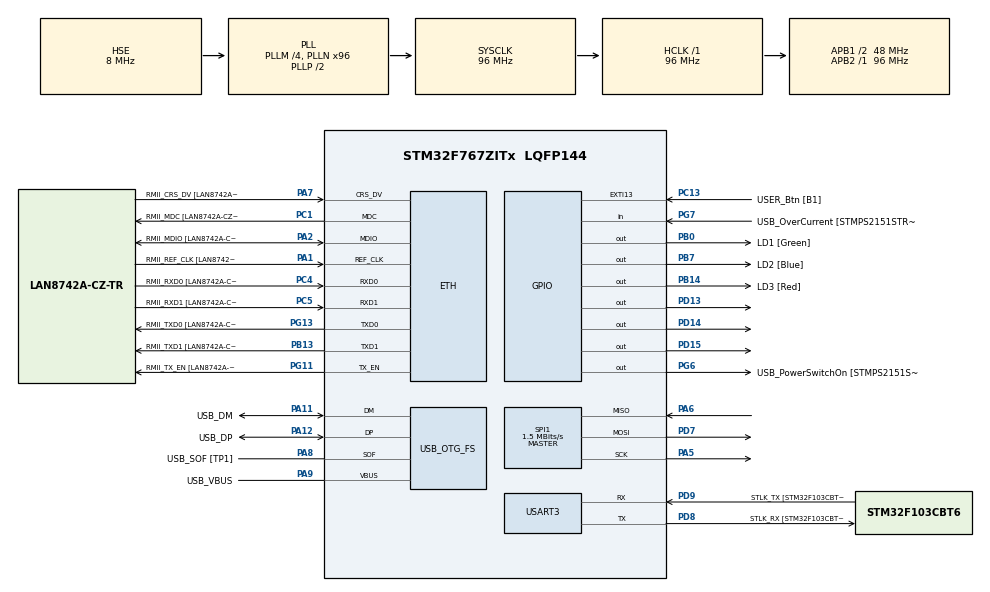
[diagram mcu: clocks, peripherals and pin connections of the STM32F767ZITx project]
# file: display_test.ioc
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CORTEX_M7.default_mode_Activation=1
ETH.MediaInterface=HAL_ETH_RMII_MODE
ETH.PHY_Name=LAN8742A_PHY_ADDRESS
ETH.PHY_Value=0
ETH.PhyAddress=0
Mcu.Family=STM32F7
Mcu.Name=STM32F767ZITx
Mcu.Package=LQFP144
NVIC.PriorityGroup=NVIC_PRIORITYGROUP_4
PA1.GPIO_Label=RMII_REF_CLK [LAN8742A-CZ-TR_REFCLK0]
PA1.Mode=RMII
PA1.Signal=ETH_REF_CLK
PA10.GPIO_Label=USB_ID
PA10.Signal=USB_OTG_FS_ID
PA11.GPIO_Label=USB_DM
PA11.Mode=Device_Only
PA11.Signal=USB_OTG_FS_DM
PA12.GPIO_Label=USB_DP
PA12.Mode=Device_Only
PA12.Signal=USB_OTG_FS_DP
PA13.GPIO_Label=TMS
PA13.Mode=Serial_Wire
PA13.Signal=SYS_JTMS-SWDIO
PA14.GPIO_Label=TCK
PA14.Mode=Serial_Wire
PA14.Signal=SYS_JTCK-SWCLK
PA2.GPIO_Label=RMII_MDIO [LAN8742A-CZ-TR_MDIO]
PA2.Mode=RMII
PA2.Signal=ETH_MDIO
PA5.Mode=Full_Duplex_Master
PA5.Signal=SPI1_SCK
PA6.Mode=Full_Duplex_Master
PA6.Signal=SPI1_MISO
PA7.GPIO_Label=RMII_CRS_DV [LAN8742A-CZ-TR_CRS_DV]
PA7.Mode=RMII
PA7.Signal=ETH_CRS_DV
PA8.GPIO_Label=USB_SOF [TP1]
PA8.Mode=Activate_SOF_FS
PA8.Signal=USB_OTG_FS_SOF
PA9.GPIO_Label=USB_VBUS
PA9.Mode=Activate_VBUS
PA9.Signal=USB_OTG_FS_VBUS
PB0.GPIO_Label=LD1 [Green]
PB0.Signal=GPIO_Output
PB13.GPIO_Label=RMII_TXD1 [LAN8742A-CZ-TR_TXD1]
PB13.Mode=RMII
PB13.Signal=ETH_TXD1
PB14.GPIO_Label=LD3 [Red]
PB14.PinState=GPIO_PIN_RESET
PB14.Signal=GPIO_Output
PB3.GPIO_Label=SWO
PB3.Signal=SYS_JTDO-SWO
PB7.GPIO_Label=LD2 [Blue]
PB7.Signal=GPIO_Output
PC1.GPIO_Label=RMII_MDC [LAN8742A-CZ-TR_MDC]
PC1.Mode=RMII
PC1.Signal=ETH_MDC
PC13.GPIO_Label=USER_Btn [B1]
PC13.Signal=GPXTI13
PC14/OSC32_IN.Mode=LSE-External-Oscillator
PC14/OSC32_IN.Signal=RCC_OSC32_IN
PC15/OSC32_OUT.Mode=LSE-External-Oscillator
PC15/OSC32_OUT.Signal=RCC_OSC32_OUT
PC4.GPIO_Label=RMII_RXD0 [LAN8742A-CZ-TR_RXD0]
PC4.Mode=RMII
PC4.Signal=ETH_RXD0
PC5.GPIO_Label=RMII_RXD1 [LAN8742A-CZ-TR_RXD1]
PC5.Mode=RMII
PC5.Signal=ETH_RXD1
PD13.Signal=GPIO_Output
PD14.PinState=GPIO_PIN_RESET
PD14.Signal=GPIO_Output
PD15.Signal=GPIO_Output
PD7.Mode=Full_Duplex_Master
PD7.Signal=SPI1_MOSI
PD8.GPIO_Label=STLK_RX [STM32F103CBT6_PA3]
PD8.Mode=Asynchronous
PD8.Signal=USART3_TX
PD9.GPIO_Label=STLK_TX [STM32F103CBT6_PA2]
PD9.Mode=Asynchronous
PD9.Signal=USART3_RX
PG11.GPIO_Label=RMII_TX_EN [LAN8742A-CZ-TR_TXEN]
PG11.Mode=RMII
PG11.Signal=ETH_TX_EN
PG13.GPIO_Label=RMII_TXD0 [LAN8742A-CZ-TR_TXD0]
PG13.Mode=RMII
PG13.Signal=ETH_TXD0
PG6.GPIO_Label=USB_PowerSwitchOn [STMPS2151STR_EN]
PG6.Signal=GPIO_Output
PG7.GPIO_Label=USB_OverCurrent [STMPS2151STR_FAULT]
PG7.Signal=GPIO_Input
PH0/OSC_IN.GPIO_Label=MCO [STM32F103CBT6_PA8]
PH0/OSC_IN.Mode=HSE-External-Clock-Source
PH0/OSC_IN.Signal=RCC_OSC_IN
PH1/OSC_OUT.Mode=HSE-External-Clock-Source
PH1/OSC_OUT.Signal=RCC_OSC_OUT
ProjectManager.HeapSize=0x200
ProjectManager.StackSize=0x400
ProjectManager.TargetToolchain=STM32CubeIDE
RCC.48MHZClocksFreq_Value=24000000
RCC.AHBFreq_Value=96000000
RCC.APB1CLKDivider=RCC_HCLK_DIV2
RCC.APB1Freq_Value=48000000
RCC.APB1TimFreq_Value=96000000
RCC.APB2Freq_Value=96000000
RCC.APB2TimFreq_Value=96000000
RCC.CortexFreq_Value=96000000
RCC.HCLKFreq_Value=96000000
RCC.HSE_VALUE=8000000
RCC.HSI_VALUE=16000000
RCC.PLLM=4
RCC.PLLMUL=RCC_PLL_MUL9
RCC.PLLN=96
RCC.PLLQ=4
RCC.PRESCALERUSB=RCC_USBCLKSOURCE_PLL_DIV1_5
RCC.SYSCLKFreq_VALUE=96000000
RCC.SYSCLKSource=RCC_SYSCLKSOURCE_PLLCLK
RCC.SYSCLKSourceVirtual=RCC_SYSCLKSOURCE_PLLCLK
RCC.USBFreq_Value=48000000
RCC.VCOOutputFreq_Value=192000000
SPI1.BaudRatePrescaler=SPI_BAUDRATEPRESCALER_64
SPI1.CalculateBaudRate=1.5 MBits/s
SPI1.DataSize=SPI_DATASIZE_8BIT
SPI1.Direction=SPI_DIRECTION_2LINES
SPI1.Mode=SPI_MODE_MASTER
SPI1.VirtualType=VM_MASTER
USART3.VirtualMode-Asynchronous=VM_ASYNC
USB_OTG_FS.VirtualMode=Device_Only
board=NUCLEO-F767ZI

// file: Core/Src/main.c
/* USER CODE BEGIN Header */
/**
  ******************************************************************************
  * @file           : main.c
  * @brief          : Main program body
  ******************************************************************************
  * @attention
  *
  * Copyright (c) 2026 STMicroelectronics.
  * All rights reserved.
  *
  * This software is licensed under terms that can be found in the LICENSE file
  * in the root directory of this software component.
  * If no LICENSE file comes with this software, it is provided AS-IS.
  *
  ******************************************************************************
  */
/* USER CODE END Header */
#include "main.h"
#include "string.h"

/* USER CODE BEGIN Includes */
#include "ra8875.h"
/* USER CODE END Includes */

#if defined ( __ICCARM__ ) /*!< IAR Compiler */
#pragma location=0x2007c000
ETH_DMADescTypeDef  DMARxDscrTab[ETH_RX_DESC_CNT]; /* Ethernet Rx DMA Descriptors */
#pragma location=0x2007c0a0
ETH_DMADescTypeDef  DMATxDscrTab[ETH_TX_DESC_CNT]; /* Ethernet Tx DMA Descriptors */

#elif defined ( __CC_ARM )  /* MDK ARM Compiler */

__attribute__((at(0x2007c000))) ETH_DMADescTypeDef  DMARxDscrTab[ETH_RX_DESC_CNT]; /* Ethernet Rx DMA Descriptors */
__attribute__((at(0x2007c0a0))) ETH_DMADescTypeDef  DMATxDscrTab[ETH_TX_DESC_CNT]; /* Ethernet Tx DMA Descriptors */

#elif defined ( __GNUC__ ) /* GNU Compiler */

ETH_DMADescTypeDef DMARxDscrTab[ETH_RX_DESC_CNT] __attribute__((section(".RxDecripSection"))); /* Ethernet Rx DMA Descriptors */
ETH_DMADescTypeDef DMATxDscrTab[ETH_TX_DESC_CNT] __attribute__((section(".TxDecripSection")));   /* Ethernet Tx DMA Descriptors */
#endif

ETH_TxPacketConfig TxConfig;

ETH_HandleTypeDef heth;

SPI_HandleTypeDef hspi1;

UART_HandleTypeDef huart3;

PCD_HandleTypeDef hpcd_USB_OTG_FS;

void SystemClock_Config(void);
static void MPU_Config(void);
static void MX_GPIO_Init(void);
static void MX_ETH_Init(void);
static void MX_SPI1_Init(void);
static void MX_USART3_UART_Init(void);
static void MX_USB_OTG_FS_PCD_Init(void);

int main(void)
{

  /* MPU Configuration--------------------------------------------------------*/
  MPU_Config();

  /* MCU Configuration--------------------------------------------------------*/

  /* Reset of all peripherals, Initializes the Flash interface and the Systick. */
  HAL_Init();

  /* Configure the system clock */
  SystemClock_Config();

  /* Initialize all configured peripherals */
  MX_GPIO_Init();
  MX_ETH_Init();
  MX_SPI1_Init();
  MX_USART3_UART_Init();
  MX_USB_OTG_FS_PCD_Init();
  /* USER CODE BEGIN 2 */
  ra8875_t ra8875_config;
  ra8875_config.hspi = &hspi1;
  ra8875_config.scs_port = GPIOD;
  ra8875_config.scs_pin = GPIO_PIN_14;
  ra8875_config.rst_port = GPIOD;
  ra8875_config.rst_pin = GPIO_PIN_15;

  ra8875_config.pllc1 = 0x0B;
  ra8875_config.pllc2 = 0x02;

  ra8875_config.sysr = 0x08;

  ra8875_config.pcsr = 0x81;

  ra8875_config.hdwr = 0x63;
  ra8875_config.hndftr = 0x00;
  ra8875_config.hndr = 0x03;
  ra8875_config.hstr = 0x01;
  ra8875_config.hpwr = 0x03;

  ra8875_config.vdhr0 = 0xDF;
  ra8875_config.vdhr1 = 0x01;
  ra8875_config.vndr0 = 0x0F;
  ra8875_config.vndr1 = 0x00;
  ra8875_config.vstr0 = 0x0E;
  ra8875_config.vstr1 = 0x00;
  ra8875_config.vpwr = 0x01;

  ra8875_config.p1cr = 0x8F;
  ra8875_config.p1dcr = 0xFF;

  ra8875_init(&ra8875_config);

  ra8875_set_memory_write_cursor_auto_increase(false);

  ra8875_set_text_mode();
  ra8875_write_text("DANIEL", 0, 0, 1, 1, 0xFFFF, 0x0000, false);
  ra8875_write_text("DANIEL", 0, 200, 4, 4, 0xFFFF, 0xFFFF, true);

  // basic testing
  ra8875_set_graphic_mode();

  ra8875_draw_line(20, 20, 200, 120, 0xFFFF);

  ra8875_draw_triangle(240, 120, 320, 40, 400, 120, 0xF800, false);
  ra8875_draw_triangle(240, 220, 320, 140, 400, 220, 0x07E0, true);

  ra8875_draw_rectangle(450, 40, 580, 120, 0x001F, false);
  ra8875_draw_rectangle(620, 40, 760, 120, 0xFFE0, true);

  ra8875_draw_rectangle_circle(450, 150, 580, 240, 20, 20, 0xF81F, false);
  ra8875_draw_rectangle_circle(620, 150, 760, 240, 20, 20, 0x07FF, true);

  ra8875_draw_circle(90, 330, 40, 0xFFFF, false);
  ra8875_draw_circle(210, 330, 40, 0xFD20, true);

  ra8875_draw_ellipse(430, 340, 70, 35, 0xAFE5, false);
  ra8875_draw_ellipse(650, 340, 70, 35, 0x780F, true);

  ra8875_draw_ellipse_curve(330, 360, 45, 25, 0xF800, 0x00, false);
  ra8875_draw_ellipse_curve(390, 360, 45, 25, 0x07E0, 0x01, true);
  ra8875_draw_ellipse_curve(330, 430, 45, 25, 0x001F, 0x02, false);
  ra8875_draw_ellipse_curve(390, 430, 45, 25, 0xFFE0, 0x03, true);
  /* USER CODE END 2 */

  /* Infinite loop */
  while (1)
  {

  }
}

void SystemClock_Config(void)
{
  RCC_OscInitTypeDef RCC_OscInitStruct = {0};
  RCC_ClkInitTypeDef RCC_ClkInitStruct = {0};

  /** Configure LSE Drive Capability
  */
  HAL_PWR_EnableBkUpAccess();

  /** Configure the main internal regulator output voltage
  */
  __HAL_RCC_PWR_CLK_ENABLE();
  __HAL_PWR_VOLTAGESCALING_CONFIG(PWR_REGULATOR_VOLTAGE_SCALE3);

  /** Initializes the RCC Oscillators according to the specified parameters
  * in the RCC_OscInitTypeDef structure.
  */
  RCC_OscInitStruct.OscillatorType = RCC_OSCILLATORTYPE_HSE;
  RCC_OscInitStruct.HSEState = RCC_HSE_BYPASS;
  RCC_OscInitStruct.PLL.PLLState = RCC_PLL_ON;
  RCC_OscInitStruct.PLL.PLLSource = RCC_PLLSOURCE_HSE;
  RCC_OscInitStruct.PLL.PLLM = 4;
  RCC_OscInitStruct.PLL.PLLN = 96;
  RCC_OscInitStruct.PLL.PLLP = RCC_PLLP_DIV2;
  RCC_OscInitStruct.PLL.PLLQ = 4;
  RCC_OscInitStruct.PLL.PLLR = 2;
  if (HAL_RCC_OscConfig(&RCC_OscInitStruct) != HAL_OK)
  {
    Error_Handler();
  }

  /** Activate the Over-Drive mode
  */
  if (HAL_PWREx_EnableOverDrive() != HAL_OK)
  {
    Error_Handler();
  }

  /** Initializes the CPU, AHB and APB buses clocks
  */
  RCC_ClkInitStruct.ClockType = RCC_CLOCKTYPE_HCLK|RCC_CLOCKTYPE_SYSCLK
                              |RCC_CLOCKTYPE_PCLK1|RCC_CLOCKTYPE_PCLK2;
  RCC_ClkInitStruct.SYSCLKSource = RCC_SYSCLKSOURCE_PLLCLK;
  RCC_ClkInitStruct.AHBCLKDivider = RCC_SYSCLK_DIV1;
  RCC_ClkInitStruct.APB1CLKDivider = RCC_HCLK_DIV2;
  RCC_ClkInitStruct.APB2CLKDivider = RCC_HCLK_DIV1;

  if (HAL_RCC_ClockConfig(&RCC_ClkInitStruct, FLASH_LATENCY_3) != HAL_OK)
  {
    Error_Handler();
  }
}

static void MX_ETH_Init(void)
{

   static uint8_t MACAddr[6];

  heth.Instance = ETH;
  MACAddr[0] = 0x00;
  MACAddr[1] = 0x80;
  MACAddr[2] = 0xE1;
  MACAddr[3] = 0x00;
  MACAddr[4] = 0x00;
  MACAddr[5] = 0x00;
  heth.Init.MACAddr = &MACAddr[0];
  heth.Init.MediaInterface = HAL_ETH_RMII_MODE;
  heth.Init.TxDesc = DMATxDscrTab;
  heth.Init.RxDesc = DMARxDscrTab;
  heth.Init.RxBuffLen = 1524;

  if (HAL_ETH_Init(&heth) != HAL_OK)
  {
    Error_Handler();
  }

  memset(&TxConfig, 0 , sizeof(ETH_TxPacketConfig));
  TxConfig.Attributes = ETH_TX_PACKETS_FEATURES_CSUM | ETH_TX_PACKETS_FEATURES_CRCPAD;
  TxConfig.ChecksumCtrl = ETH_CHECKSUM_IPHDR_PAYLOAD_INSERT_PHDR_CALC;
  TxConfig.CRCPadCtrl = ETH_CRC_PAD_INSERT;

}

static void MX_SPI1_Init(void)
{

  /* SPI1 parameter configuration*/
  hspi1.Instance = SPI1;
  hspi1.Init.Mode = SPI_MODE_MASTER;
  hspi1.Init.Direction = SPI_DIRECTION_2LINES;
  hspi1.Init.DataSize = SPI_DATASIZE_8BIT;
  hspi1.Init.CLKPolarity = SPI_POLARITY_LOW;
  hspi1.Init.CLKPhase = SPI_PHASE_1EDGE;
  hspi1.Init.NSS = SPI_NSS_SOFT;
  hspi1.Init.BaudRatePrescaler = SPI_BAUDRATEPRESCALER_64;
  hspi1.Init.FirstBit = SPI_FIRSTBIT_MSB;
  hspi1.Init.TIMode = SPI_TIMODE_DISABLE;
  hspi1.Init.CRCCalculation = SPI_CRCCALCULATION_DISABLE;
  hspi1.Init.CRCPolynomial = 7;
  hspi1.Init.CRCLength = SPI_CRC_LENGTH_DATASIZE;
  hspi1.Init.NSSPMode = SPI_NSS_PULSE_ENABLE;
  if (HAL_SPI_Init(&hspi1) != HAL_OK)
  {
    Error_Handler();
  }

}

static void MX_USART3_UART_Init(void)
{

  huart3.Instance = USART3;
  huart3.Init.BaudRate = 115200;
  huart3.Init.WordLength = UART_WORDLENGTH_8B;
  huart3.Init.StopBits = UART_STOPBITS_1;
  huart3.Init.Parity = UART_PARITY_NONE;
  huart3.Init.Mode = UART_MODE_TX_RX;
  huart3.Init.HwFlowCtl = UART_HWCONTROL_NONE;
  huart3.Init.OverSampling = UART_OVERSAMPLING_16;
  huart3.Init.OneBitSampling = UART_ONE_BIT_SAMPLE_DISABLE;
  huart3.AdvancedInit.AdvFeatureInit = UART_ADVFEATURE_NO_INIT;
  if (HAL_UART_Init(&huart3) != HAL_OK)
  {
    Error_Handler();
  }

}

static void MX_USB_OTG_FS_PCD_Init(void)
{

  hpcd_USB_OTG_FS.Instance = USB_OTG_FS;
  hpcd_USB_OTG_FS.Init.dev_endpoints = 6;
  hpcd_USB_OTG_FS.Init.speed = PCD_SPEED_FULL;
  hpcd_USB_OTG_FS.Init.dma_enable = DISABLE;
  hpcd_USB_OTG_FS.Init.phy_itface = PCD_PHY_EMBEDDED;
  hpcd_USB_OTG_FS.Init.Sof_enable = ENABLE;
  hpcd_USB_OTG_FS.Init.low_power_enable = DISABLE;
  hpcd_USB_OTG_FS.Init.lpm_enable = DISABLE;
  hpcd_USB_OTG_FS.Init.vbus_sensing_enable = ENABLE;
  hpcd_USB_OTG_FS.Init.use_dedicated_ep1 = DISABLE;
  if (HAL_PCD_Init(&hpcd_USB_OTG_FS) != HAL_OK)
  {
    Error_Handler();
  }

}

static void MX_GPIO_Init(void)
{
  GPIO_InitTypeDef GPIO_InitStruct = {0};

  /* GPIO Ports Clock Enable */
  __HAL_RCC_GPIOC_CLK_ENABLE();
  __HAL_RCC_GPIOH_CLK_ENABLE();
  __HAL_RCC_GPIOA_CLK_ENABLE();
  __HAL_RCC_GPIOB_CLK_ENABLE();
  __HAL_RCC_GPIOD_CLK_ENABLE();
  __HAL_RCC_GPIOG_CLK_ENABLE();

  /*Configure GPIO pin Output Level */
  HAL_GPIO_WritePin(GPIOB, LD1_Pin|LD3_Pin|LD2_Pin, GPIO_PIN_RESET);

  /*Configure GPIO pin Output Level */
  HAL_GPIO_WritePin(GPIOD, GPIO_PIN_13|GPIO_PIN_14|GPIO_PIN_15, GPIO_PIN_RESET);

  /*Configure GPIO pin Output Level */
  HAL_GPIO_WritePin(USB_PowerSwitchOn_GPIO_Port, USB_PowerSwitchOn_Pin, GPIO_PIN_RESET);

  /*Configure GPIO pin : USER_Btn_Pin */
  GPIO_InitStruct.Pin = USER_Btn_Pin;
  GPIO_InitStruct.Mode = GPIO_MODE_IT_RISING;
  GPIO_InitStruct.Pull = GPIO_NOPULL;
  HAL_GPIO_Init(USER_Btn_GPIO_Port, &GPIO_InitStruct);

  /*Configure GPIO pins : LD1_Pin LD3_Pin LD2_Pin */
  GPIO_InitStruct.Pin = LD1_Pin|LD3_Pin|LD2_Pin;
  GPIO_InitStruct.Mode = GPIO_MODE_OUTPUT_PP;
  GPIO_InitStruct.Pull = GPIO_NOPULL;
  GPIO_InitStruct.Speed = GPIO_SPEED_FREQ_LOW;
  HAL_GPIO_Init(GPIOB, &GPIO_InitStruct);

  /*Configure GPIO pins : PD13 PD14 PD15 */
  GPIO_InitStruct.Pin = GPIO_PIN_13|GPIO_PIN_14|GPIO_PIN_15;
  GPIO_InitStruct.Mode = GPIO_MODE_OUTPUT_PP;
  GPIO_InitStruct.Pull = GPIO_NOPULL;
  GPIO_InitStruct.Speed = GPIO_SPEED_FREQ_LOW;
  HAL_GPIO_Init(GPIOD, &GPIO_InitStruct);

  /*Configure GPIO pin : USB_PowerSwitchOn_Pin */
  GPIO_InitStruct.Pin = USB_PowerSwitchOn_Pin;
  GPIO_InitStruct.Mode = GPIO_MODE_OUTPUT_PP;
  GPIO_InitStruct.Pull = GPIO_NOPULL;
  GPIO_InitStruct.Speed = GPIO_SPEED_FREQ_LOW;
  HAL_GPIO_Init(USB_PowerSwitchOn_GPIO_Port, &GPIO_InitStruct);

  /*Configure GPIO pin : USB_OverCurrent_Pin */
  GPIO_InitStruct.Pin = USB_OverCurrent_Pin;
  GPIO_InitStruct.Mode = GPIO_MODE_INPUT;
  GPIO_InitStruct.Pull = GPIO_NOPULL;
  HAL_GPIO_Init(USB_OverCurrent_GPIO_Port, &GPIO_InitStruct);

}

 /* MPU Configuration */

void MPU_Config(void)
{
  MPU_Region_InitTypeDef MPU_InitStruct = {0};

  /* Disables the MPU */
  HAL_MPU_Disable();

  /** Initializes and configures the Region and the memory to be protected
  */
  MPU_InitStruct.Enable = MPU_REGION_ENABLE;
  MPU_InitStruct.Number = MPU_REGION_NUMBER0;
  MPU_InitStruct.BaseAddress = 0x0;
  MPU_InitStruct.Size = MPU_REGION_SIZE_4GB;
  MPU_InitStruct.SubRegionDisable = 0x87;
  MPU_InitStruct.TypeExtField = MPU_TEX_LEVEL0;
  MPU_InitStruct.AccessPermission = MPU_REGION_NO_ACCESS;
  MPU_InitStruct.DisableExec = MPU_INSTRUCTION_ACCESS_DISABLE;
  MPU_InitStruct.IsShareable = MPU_ACCESS_SHAREABLE;
  MPU_InitStruct.IsCacheable = MPU_ACCESS_NOT_CACHEABLE;
  MPU_InitStruct.IsBufferable = MPU_ACCESS_NOT_BUFFERABLE;

  HAL_MPU_ConfigRegion(&MPU_InitStruct);
  /* Enables the MPU */
  HAL_MPU_Enable(MPU_PRIVILEGED_DEFAULT);

}

void Error_Handler(void)
{
  __disable_irq();
  while (1)
  {
  }
}
